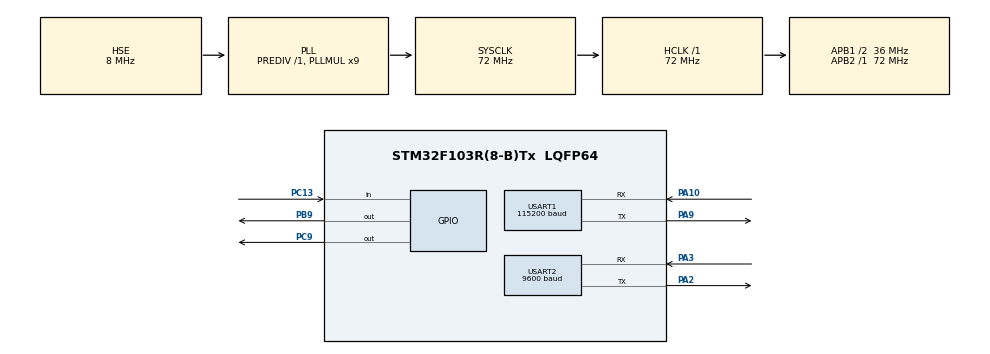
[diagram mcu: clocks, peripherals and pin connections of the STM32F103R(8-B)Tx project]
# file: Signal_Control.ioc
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Mcu.Family=STM32F1
Mcu.Name=STM32F103R(8-B)Tx
Mcu.Package=LQFP64
NVIC.PriorityGroup=NVIC_PRIORITYGROUP_4
NVIC.TIM2_IRQn=true\:0\:0\:false\:false\:true\:true\:true\:true
NVIC.USART1_IRQn=true\:0\:0\:false\:false\:true\:true\:true\:true
NVIC.USART2_IRQn=true\:0\:0\:false\:false\:true\:true\:true\:true
PA10.Mode=Asynchronous
PA10.Signal=USART1_RX
PA13.Mode=Serial_Wire
PA13.Signal=SYS_JTMS-SWDIO
PA14.Mode=Serial_Wire
PA14.Signal=SYS_JTCK-SWCLK
PA2.Mode=Asynchronous
PA2.Signal=USART2_TX
PA3.Mode=Asynchronous
PA3.Signal=USART2_RX
PA9.Mode=Asynchronous
PA9.Signal=USART1_TX
PB9.Signal=GPIO_Output
PC13-TAMPER-RTC.Signal=GPIO_Input
PC9.Signal=GPIO_Output
PD0-OSC_IN.Mode=HSE-External-Oscillator
PD0-OSC_IN.Signal=RCC_OSC_IN
PD1-OSC_OUT.Mode=HSE-External-Oscillator
PD1-OSC_OUT.Signal=RCC_OSC_OUT
ProjectManager.HeapSize=0x200
ProjectManager.StackSize=0x400
ProjectManager.TargetToolchain=STM32CubeIDE
RCC.ADCPresc=RCC_ADCPCLK2_DIV6
RCC.AHBFreq_Value=72000000
RCC.APB1CLKDivider=RCC_HCLK_DIV2
RCC.APB1Freq_Value=36000000
RCC.APB1TimFreq_Value=72000000
RCC.APB2Freq_Value=72000000
RCC.APB2TimFreq_Value=72000000
RCC.HCLKFreq_Value=72000000
RCC.PLLMUL=RCC_PLL_MUL9
RCC.PLLSourceVirtual=RCC_PLLSOURCE_HSE
RCC.SYSCLKFreq_VALUE=72000000
RCC.SYSCLKSource=RCC_SYSCLKSOURCE_PLLCLK
RCC.USBFreq_Value=72000000
TIM2.AutoReloadPreload=TIM_AUTORELOAD_PRELOAD_ENABLE
TIM2.Period=9999
TIM2.Prescaler=71
USART1.BaudRate=115200
USART1.VirtualMode=VM_ASYNC
USART2.BaudRate=9600
USART2.VirtualMode=VM_ASYNC
VP_TIM2_VS_ClockSourceINT.Mode=Internal
board=custom

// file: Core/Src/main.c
/* USER CODE BEGIN Header */
/**
  ******************************************************************************
  * @file           : main.c
  * @brief          : Main program body
  ******************************************************************************
  * @attention
  *
  * <h2><center>&copy; Copyright (c) 2023 STMicroelectronics.
  * All rights reserved.</center></h2>
  *
  * This software component is licensed by ST under BSD 3-Clause license,
  * the "License"; You may not use this file except in compliance with the
  * License. You may obtain a copy of the License at:
  *                        opensource.org/licenses/BSD-3-Clause
  *
  ******************************************************************************
  */
/* USER CODE END Header */
#include "main.h"

/* USER CODE BEGIN Includes */
#include "scheduler.h"
#include "timer.h"
#include "input_reading.h"
#include "MCU_Python_communication.h"
#include "command_processing.h"
//#include "DHT11.h"
#include "DHT.h"
/* USER CODE END Includes */

TIM_HandleTypeDef htim2;

UART_HandleTypeDef huart1;
UART_HandleTypeDef huart2;

/* USER CODE BEGIN PV */
uint8_t temp;
uint8_t temp_dht;

GPIO_TypeDef * LED_Port[] = {GPIOC};
uint16_t LED_Pin[] = {GPIO_PIN_9};
extern uint32_t light_value;

//GPIO_TypeDef * DHT_Port = GPIOB;
//uint16_t DHT_Pin = GPIO_PIN_12;

/* USER CODE END PV */

void SystemClock_Config(void);
static void MX_GPIO_Init(void);
static void MX_TIM2_Init(void);
static void MX_USART1_UART_Init(void);
static void MX_USART2_UART_Init(void);
/* USER CODE BEGIN PFP */
void BlinkLED();
void checkUSART();
/* USER CODE END PFP */

int main(void)
{

  /* MCU Configuration--------------------------------------------------------*/

  /* Reset of all peripherals, Initializes the Flash interface and the Systick. */
  HAL_Init();

  /* Configure the system clock */
  SystemClock_Config();

  /* Initialize all configured peripherals */
  MX_GPIO_Init();
  MX_TIM2_Init();
  MX_USART1_UART_Init();
  MX_USART2_UART_Init();
  /* USER CODE BEGIN 2 */
  HAL_TIM_Base_Start_IT(&htim2);
  HAL_Delay(500);
  //DHT_Init(&sensor_DHT, DHT11, &htim4, DHT_Port, DHT_Pin);
  SCH_INIT();
  SW_TIM_Init();
  //DHT_ReadTempHum();
  SCH_Add_Task(fsm, 1, 1);
  SCH_Add_Task(request_DHT, 100, 500);
  //SCH_Add_Task(read_light_sensor, 200, 500);
  //SCH_Add_Task(checkUSART, 2, 1);
  //SCH_Add_Task(timer_run, 2, 1);
  //SCH_Add_Task(button_reading, 4, 1);
  HAL_UART_Receive_IT(&huart1, &temp, 1);
  HAL_UART_Receive_IT(&huart2, &temp_dht, 1);
  /* USER CODE END 2 */

  /* Infinite loop */
  /* USER CODE BEGIN WHILE */
  //HAL_ADC_Start(&hadc1);
  //HAL_ADC_PollForConversion(&hadc1, 500);
  //light_value = HAL_ADC_GetValue(&hadc1);
  //HAL_ADC_Stop(&hadc1);
  while (1)
  {
    /* USER CODE END WHILE */

    /* USER CODE BEGIN 3 */
	 SCH_Dispatch_Task();
  }
  /* USER CODE END 3 */
}

void SystemClock_Config(void)
{
  RCC_OscInitTypeDef RCC_OscInitStruct = {0};
  RCC_ClkInitTypeDef RCC_ClkInitStruct = {0};

  /** Initializes the RCC Oscillators according to the specified parameters
  * in the RCC_OscInitTypeDef structure.
  */
  RCC_OscInitStruct.OscillatorType = RCC_OSCILLATORTYPE_HSE;
  RCC_OscInitStruct.HSEState = RCC_HSE_ON;
  RCC_OscInitStruct.HSEPredivValue = RCC_HSE_PREDIV_DIV1;
  RCC_OscInitStruct.HSIState = RCC_HSI_ON;
  RCC_OscInitStruct.PLL.PLLState = RCC_PLL_ON;
  RCC_OscInitStruct.PLL.PLLSource = RCC_PLLSOURCE_HSE;
  RCC_OscInitStruct.PLL.PLLMUL = RCC_PLL_MUL9;
  if (HAL_RCC_OscConfig(&RCC_OscInitStruct) != HAL_OK)
  {
    Error_Handler();
  }

  /** Initializes the CPU, AHB and APB buses clocks
  */
  RCC_ClkInitStruct.ClockType = RCC_CLOCKTYPE_HCLK|RCC_CLOCKTYPE_SYSCLK
                              |RCC_CLOCKTYPE_PCLK1|RCC_CLOCKTYPE_PCLK2;
  RCC_ClkInitStruct.SYSCLKSource = RCC_SYSCLKSOURCE_PLLCLK;
  RCC_ClkInitStruct.AHBCLKDivider = RCC_SYSCLK_DIV1;
  RCC_ClkInitStruct.APB1CLKDivider = RCC_HCLK_DIV2;
  RCC_ClkInitStruct.APB2CLKDivider = RCC_HCLK_DIV1;

  if (HAL_RCC_ClockConfig(&RCC_ClkInitStruct, FLASH_LATENCY_2) != HAL_OK)
  {
    Error_Handler();
  }
}

static void MX_TIM2_Init(void)
{

  TIM_ClockConfigTypeDef sClockSourceConfig = {0};
  TIM_MasterConfigTypeDef sMasterConfig = {0};

  htim2.Instance = TIM2;
  htim2.Init.Prescaler = 71;
  htim2.Init.CounterMode = TIM_COUNTERMODE_UP;
  htim2.Init.Period = 9999;
  htim2.Init.ClockDivision = TIM_CLOCKDIVISION_DIV1;
  htim2.Init.AutoReloadPreload = TIM_AUTORELOAD_PRELOAD_ENABLE;
  if (HAL_TIM_Base_Init(&htim2) != HAL_OK)
  {
    Error_Handler();
  }
  sClockSourceConfig.ClockSource = TIM_CLOCKSOURCE_INTERNAL;
  if (HAL_TIM_ConfigClockSource(&htim2, &sClockSourceConfig) != HAL_OK)
  {
    Error_Handler();
  }
  sMasterConfig.MasterOutputTrigger = TIM_TRGO_RESET;
  sMasterConfig.MasterSlaveMode = TIM_MASTERSLAVEMODE_DISABLE;
  if (HAL_TIMEx_MasterConfigSynchronization(&htim2, &sMasterConfig) != HAL_OK)
  {
    Error_Handler();
  }

}

static void MX_USART1_UART_Init(void)
{

  huart1.Instance = USART1;
  huart1.Init.BaudRate = 115200;
  huart1.Init.WordLength = UART_WORDLENGTH_8B;
  huart1.Init.StopBits = UART_STOPBITS_1;
  huart1.Init.Parity = UART_PARITY_NONE;
  huart1.Init.Mode = UART_MODE_TX_RX;
  huart1.Init.HwFlowCtl = UART_HWCONTROL_NONE;
  huart1.Init.OverSampling = UART_OVERSAMPLING_16;
  if (HAL_UART_Init(&huart1) != HAL_OK)
  {
    Error_Handler();
  }

}

static void MX_USART2_UART_Init(void)
{

  huart2.Instance = USART2;
  huart2.Init.BaudRate = 9600;
  huart2.Init.WordLength = UART_WORDLENGTH_8B;
  huart2.Init.StopBits = UART_STOPBITS_1;
  huart2.Init.Parity = UART_PARITY_NONE;
  huart2.Init.Mode = UART_MODE_TX_RX;
  huart2.Init.HwFlowCtl = UART_HWCONTROL_NONE;
  huart2.Init.OverSampling = UART_OVERSAMPLING_16;
  if (HAL_UART_Init(&huart2) != HAL_OK)
  {
    Error_Handler();
  }

}

static void MX_GPIO_Init(void)
{
  GPIO_InitTypeDef GPIO_InitStruct = {0};

  /* GPIO Ports Clock Enable */
  __HAL_RCC_GPIOC_CLK_ENABLE();
  __HAL_RCC_GPIOD_CLK_ENABLE();
  __HAL_RCC_GPIOA_CLK_ENABLE();
  __HAL_RCC_GPIOB_CLK_ENABLE();

  /*Configure GPIO pin Output Level */
  HAL_GPIO_WritePin(GPIOC, GPIO_PIN_9, GPIO_PIN_RESET);

  /*Configure GPIO pin Output Level */
  HAL_GPIO_WritePin(GPIOB, GPIO_PIN_9, GPIO_PIN_RESET);

  /*Configure GPIO pin : PC13 */
  GPIO_InitStruct.Pin = GPIO_PIN_13;
  GPIO_InitStruct.Mode = GPIO_MODE_INPUT;
  GPIO_InitStruct.Pull = GPIO_NOPULL;
  HAL_GPIO_Init(GPIOC, &GPIO_InitStruct);

  /*Configure GPIO pin : PC9 */
  GPIO_InitStruct.Pin = GPIO_PIN_9;
  GPIO_InitStruct.Mode = GPIO_MODE_OUTPUT_PP;
  GPIO_InitStruct.Pull = GPIO_NOPULL;
  GPIO_InitStruct.Speed = GPIO_SPEED_FREQ_LOW;
  HAL_GPIO_Init(GPIOC, &GPIO_InitStruct);

  /*Configure GPIO pin : PB9 */
  GPIO_InitStruct.Pin = GPIO_PIN_9;
  GPIO_InitStruct.Mode = GPIO_MODE_OUTPUT_PP;
  GPIO_InitStruct.Pull = GPIO_NOPULL;
  GPIO_InitStruct.Speed = GPIO_SPEED_FREQ_LOW;
  HAL_GPIO_Init(GPIOB, &GPIO_InitStruct);

}

/* USER CODE BEGIN 4 */
void BlinkLED()
{
	HAL_GPIO_TogglePin(LED_Port[1], LED_Pin[1]);
}

void checkUSART()
{
	if (is_pressed(0))
	{
		HAL_UART_Transmit(&huart1, (uint8_t*)"!Welcome !!! \nPlease enter your command!\n#", sizeof("!Welcome !!! \rPlease enter your command!#\r"), 1000);
		HAL_GPIO_TogglePin(LED_Port[1], LED_Pin[1]);
	}
}

void HAL_TIM_PeriodElapsedCallback ( TIM_HandleTypeDef * htim )
{
	if (htim->Instance == TIM2)
	{
		SCH_Update_Task();
		timer_run();
	}
}

void HAL_UART_RxCpltCallback(UART_HandleTypeDef *huart){
	if(huart->Instance == USART1){
		record(temp);
		HAL_UART_Receive_IT(&huart1, &temp, 1);
	}
	else if(huart->Instance == USART2){
		record_data_DHT(temp_dht);
		HAL_UART_Receive_IT(&huart2, &temp_dht, 1);
	}

}
/* USER CODE END 4 */

void Error_Handler(void)
{
  __disable_irq();
  while (1)
  {
  }
}
